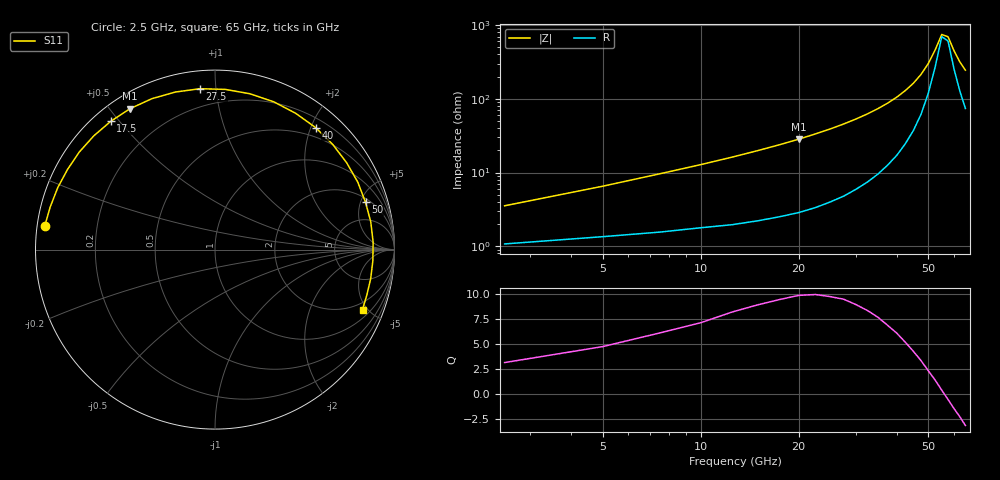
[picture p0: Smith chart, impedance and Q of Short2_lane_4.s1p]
! File created by SignalIntegrity v1.5.1: Signal and Power Integrity Tools
! https://github.com/Nubis-Communications/SignalIntegrity
# MHz S MA R 50.0
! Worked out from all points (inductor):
!   26 points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, 2.5 GHz to 65 GHz, reference 50 ohm
!   read as one part to ground: L = 202 pH near 2.5 GHz
!   highest Q = 9.85 at 20 GHz (marker M1), where L = 224 pH
!   self-resonance near 56.1 GHz
!   S11 on the Smith chart (normalised r, x): 2.5 GHz: 0.02, +0.07; 17.5 GHz: 0.05, +0.48; 27.5 GHz: 0.10, +0.91; 40 GHz: 0.34, +2.08; 50 GHz: 2.38, +5.52; 65 GHz: 1.48, -4.66
2500  0.9581 172.3
5000  0.9483 165.4
7500  0.9416 158.5
10000  0.9352 151.5
12500  0.9313 144.3
15000  0.9261 136.8
17500  0.9211 129.1
20000  0.9168 121.0
22500  0.9114 112.6
25000  0.9052 104.1
27500  0.9003 95.3
30000  0.8944 86.3
32500  0.8898 77.4
35000  0.8861 68.3
37500  0.8824 59.3
40000  0.8811 50.5
42500  0.8794 41.8
45000  0.8788 33.5
47500  0.8799 25.3
50000  0.8792 17.4
52500  0.8814 10.1
55000  0.882 2.7
57500  0.8817 -4.0
60000  0.8824 -10.6
62500  0.8829 -16.5
65000  0.8873 -22.1
